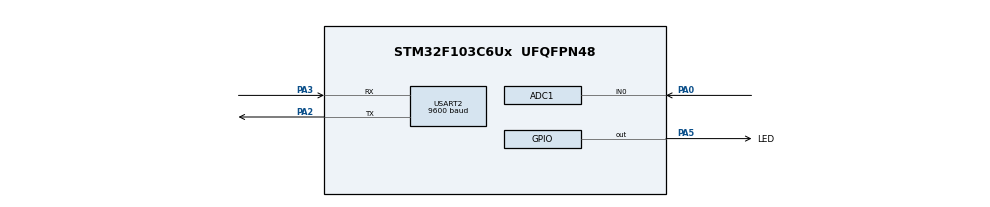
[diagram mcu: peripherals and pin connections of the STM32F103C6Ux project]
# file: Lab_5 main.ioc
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ADC1.Channel-0\#ChannelRegularConversion=ADC_CHANNEL_0
ADC1.ContinuousConvMode=ENABLE
ADC1.NbrOfConversionFlag=1
ADC1.Rank-0\#ChannelRegularConversion=1
ADC1.SamplingTime-0\#ChannelRegularConversion=ADC_SAMPLETIME_1CYCLE_5
ADC1.master=1
Mcu.Family=STM32F1
Mcu.Name=STM32F103C6Ux
Mcu.Package=UFQFPN48
NVIC.ADC1_2_IRQn=true\:0\:0\:false\:false\:true\:true\:true
NVIC.PriorityGroup=NVIC_PRIORITYGROUP_4
NVIC.TIM2_IRQn=true\:0\:0\:false\:false\:true\:true\:true
NVIC.USART2_IRQn=true\:0\:0\:false\:false\:true\:true\:true
PA0-WKUP.Signal=ADCx_IN0
PA2.Mode=Asynchronous
PA2.Signal=USART2_TX
PA3.Mode=Asynchronous
PA3.Signal=USART2_RX
PA5.GPIO_Label=LED
PA5.Signal=GPIO_Output
ProjectManager.HeapSize=0x200
ProjectManager.StackSize=0x400
ProjectManager.TargetToolchain=STM32CubeIDE
RCC.APB1Freq_Value=8000000
RCC.APB2Freq_Value=8000000
SH.ADCx_IN0.0=ADC1_IN0,IN0
TIM2.Period=9
TIM2.Prescaler=7999
USART2.BaudRate=9600
USART2.VirtualMode=VM_ASYNC
VP_SYS_VS_ND.Mode=No_Debug
VP_TIM2_VS_ClockSourceINT.Mode=Internal
board=custom

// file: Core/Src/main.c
/* USER CODE BEGIN Header */
/**
  ******************************************************************************
  * @file           : main.c
  * @brief          : Main program body
  ******************************************************************************
  * @attention
  *
  * <h2><center>&copy; Copyright (c) 2023 STMicroelectronics.
  * All rights reserved.</center></h2>
  *
  * This software component is licensed by ST under BSD 3-Clause license,
  * the "License"; You may not use this file except in compliance with the
  * License. You may obtain a copy of the License at:
  *                        opensource.org/licenses/BSD-3-Clause
  *
  ******************************************************************************
  */
/* USER CODE END Header */
#include "main.h"

/* USER CODE BEGIN Includes */
#include "stdio.h"
#include "command_parser.h"
#include "uart_communication.h"
/* USER CODE END Includes */

ADC_HandleTypeDef hadc1;

TIM_HandleTypeDef htim2;

UART_HandleTypeDef huart2;

void SystemClock_Config(void);
static void MX_GPIO_Init(void);
static void MX_ADC1_Init(void);
static void MX_USART2_UART_Init(void);
static void MX_TIM2_Init(void);

/* USER CODE BEGIN 0 */
uint8_t check = 0;
void HAL_UART_RxCpltCallback(UART_HandleTypeDef *huart){
	if (huart->Instance == USART2){
		HAL_UART_Transmit(&huart2, &temp, 1, 50);
		if (check == 1){
			if (temp != '#'){
				buffer[index_buffer++] = temp;
				// buffer_flag = 1;
				if (index_buffer == MAX_BUFFER_SIZE){
					check = 0;
					clear_buffer();
				}
			} else{
				buffer_flag = 1;
				check = 0;
			}
		}
		if (temp == '!'){
			check = 1;
		}
		HAL_UART_Receive_IT(&huart2, &temp, 1);
	}
}
/* USER CODE END 0 */

int main(void)
{

  /* MCU Configuration--------------------------------------------------------*/

  /* Reset of all peripherals, Initializes the Flash interface and the Systick. */
  HAL_Init();

  /* Configure the system clock */
  SystemClock_Config();

  /* Initialize all configured peripherals */
  MX_GPIO_Init();
  MX_ADC1_Init();
  MX_USART2_UART_Init();
  MX_TIM2_Init();
  /* USER CODE BEGIN 2 */
  HAL_UART_Receive_IT (&huart2 , &temp , 1);
  HAL_TIM_Base_Start_IT(&htim2);
  HAL_ADC_Start(&hadc1);
  /* USER CODE END 2 */

  /* Infinite loop */
  /* USER CODE BEGIN WHILE */

  //void *str = NULL;
  while (1)
  {
	  //HAL_GPIO_TogglePin(LED_GPIO_Port, LED_Pin);

//	  HAL_UART_Transmit(&huart2,(void*) str, sprintf(str,"%d\r",ADC_value), 1000);
//	  HAL_Delay(500);

	  if (buffer_flag == 1){
		  //TODO fsm
		  command_parser_fsm();
		  buffer_flag = 0;
	  }
	  // TODO fsm
	  uart_communication_fsm();
//	  HAL_Delay(1000);
//	  uart_communication_fsm();
//	  switch (data_cmd) {
//		case RST_CMD:
//			ADC_value = HAL_ADC_GetValue(&hadc1);
//			HAL_UART_Transmit(&huart2,(void*) a, sprintf(a,"\r%d\r",ADC_value), 100);
//			HAL_GPIO_TogglePin(LED_GPIO_Port, LED_Pin);
//			data_cmd = 0;
//			break;
//		default:
////			HAL_UART_Transmit(&huart2,(void*) str, sprintf(str,"\r%d\r",data_cmd+1000), 200);
//			break;
//	}
    /* USER CODE END WHILE */

  }
}

void SystemClock_Config(void)
{
  RCC_OscInitTypeDef RCC_OscInitStruct = {0};
  RCC_ClkInitTypeDef RCC_ClkInitStruct = {0};
  RCC_PeriphCLKInitTypeDef PeriphClkInit = {0};

  /** Initializes the RCC Oscillators according to the specified parameters
  * in the RCC_OscInitTypeDef structure.
  */
  RCC_OscInitStruct.OscillatorType = RCC_OSCILLATORTYPE_HSI;
  RCC_OscInitStruct.HSIState = RCC_HSI_ON;
  RCC_OscInitStruct.HSICalibrationValue = RCC_HSICALIBRATION_DEFAULT;
  RCC_OscInitStruct.PLL.PLLState = RCC_PLL_NONE;
  if (HAL_RCC_OscConfig(&RCC_OscInitStruct) != HAL_OK)
  {
    Error_Handler();
  }
  /** Initializes the CPU, AHB and APB buses clocks
  */
  RCC_ClkInitStruct.ClockType = RCC_CLOCKTYPE_HCLK|RCC_CLOCKTYPE_SYSCLK
                              |RCC_CLOCKTYPE_PCLK1|RCC_CLOCKTYPE_PCLK2;
  RCC_ClkInitStruct.SYSCLKSource = RCC_SYSCLKSOURCE_HSI;
  RCC_ClkInitStruct.AHBCLKDivider = RCC_SYSCLK_DIV1;
  RCC_ClkInitStruct.APB1CLKDivider = RCC_HCLK_DIV1;
  RCC_ClkInitStruct.APB2CLKDivider = RCC_HCLK_DIV1;

  if (HAL_RCC_ClockConfig(&RCC_ClkInitStruct, FLASH_LATENCY_0) != HAL_OK)
  {
    Error_Handler();
  }
  PeriphClkInit.PeriphClockSelection = RCC_PERIPHCLK_ADC;
  PeriphClkInit.AdcClockSelection = RCC_ADCPCLK2_DIV2;
  if (HAL_RCCEx_PeriphCLKConfig(&PeriphClkInit) != HAL_OK)
  {
    Error_Handler();
  }
}

static void MX_ADC1_Init(void)
{

  ADC_ChannelConfTypeDef sConfig = {0};

  /** Common config
  */
  hadc1.Instance = ADC1;
  hadc1.Init.ScanConvMode = ADC_SCAN_DISABLE;
  hadc1.Init.ContinuousConvMode = ENABLE;
  hadc1.Init.DiscontinuousConvMode = DISABLE;
  hadc1.Init.ExternalTrigConv = ADC_SOFTWARE_START;
  hadc1.Init.DataAlign = ADC_DATAALIGN_RIGHT;
  hadc1.Init.NbrOfConversion = 1;
  if (HAL_ADC_Init(&hadc1) != HAL_OK)
  {
    Error_Handler();
  }
  /** Configure Regular Channel
  */
  sConfig.Channel = ADC_CHANNEL_0;
  sConfig.Rank = ADC_REGULAR_RANK_1;
  sConfig.SamplingTime = ADC_SAMPLETIME_1CYCLE_5;
  if (HAL_ADC_ConfigChannel(&hadc1, &sConfig) != HAL_OK)
  {
    Error_Handler();
  }

}

static void MX_TIM2_Init(void)
{

  TIM_ClockConfigTypeDef sClockSourceConfig = {0};
  TIM_MasterConfigTypeDef sMasterConfig = {0};

  htim2.Instance = TIM2;
  htim2.Init.Prescaler = 7999;
  htim2.Init.CounterMode = TIM_COUNTERMODE_UP;
  htim2.Init.Period = 9;
  htim2.Init.ClockDivision = TIM_CLOCKDIVISION_DIV1;
  htim2.Init.AutoReloadPreload = TIM_AUTORELOAD_PRELOAD_DISABLE;
  if (HAL_TIM_Base_Init(&htim2) != HAL_OK)
  {
    Error_Handler();
  }
  sClockSourceConfig.ClockSource = TIM_CLOCKSOURCE_INTERNAL;
  if (HAL_TIM_ConfigClockSource(&htim2, &sClockSourceConfig) != HAL_OK)
  {
    Error_Handler();
  }
  sMasterConfig.MasterOutputTrigger = TIM_TRGO_RESET;
  sMasterConfig.MasterSlaveMode = TIM_MASTERSLAVEMODE_DISABLE;
  if (HAL_TIMEx_MasterConfigSynchronization(&htim2, &sMasterConfig) != HAL_OK)
  {
    Error_Handler();
  }

}

static void MX_USART2_UART_Init(void)
{

  huart2.Instance = USART2;
  huart2.Init.BaudRate = 9600;
  huart2.Init.WordLength = UART_WORDLENGTH_8B;
  huart2.Init.StopBits = UART_STOPBITS_1;
  huart2.Init.Parity = UART_PARITY_NONE;
  huart2.Init.Mode = UART_MODE_TX_RX;
  huart2.Init.HwFlowCtl = UART_HWCONTROL_NONE;
  huart2.Init.OverSampling = UART_OVERSAMPLING_16;
  if (HAL_UART_Init(&huart2) != HAL_OK)
  {
    Error_Handler();
  }

}

static void MX_GPIO_Init(void)
{
  GPIO_InitTypeDef GPIO_InitStruct = {0};

  /* GPIO Ports Clock Enable */
  __HAL_RCC_GPIOA_CLK_ENABLE();

  /*Configure GPIO pin Output Level */
  HAL_GPIO_WritePin(LED_GPIO_Port, LED_Pin, GPIO_PIN_RESET);

  /*Configure GPIO pin : LED_Pin */
  GPIO_InitStruct.Pin = LED_Pin;
  GPIO_InitStruct.Mode = GPIO_MODE_OUTPUT_PP;
  GPIO_InitStruct.Pull = GPIO_NOPULL;
  GPIO_InitStruct.Speed = GPIO_SPEED_FREQ_LOW;
  HAL_GPIO_Init(LED_GPIO_Port, &GPIO_InitStruct);

}

/* USER CODE BEGIN 4 */
void HAL_TIM_PeriodElapsedCallback(TIM_HandleTypeDef *htim){
	timer1Run();
}
/* USER CODE END 4 */

void Error_Handler(void)
{
  __disable_irq();
  while (1)
  {
  }
}

/************************ (C) COPYRIGHT STMicroelectronics *****END OF FILE****/
